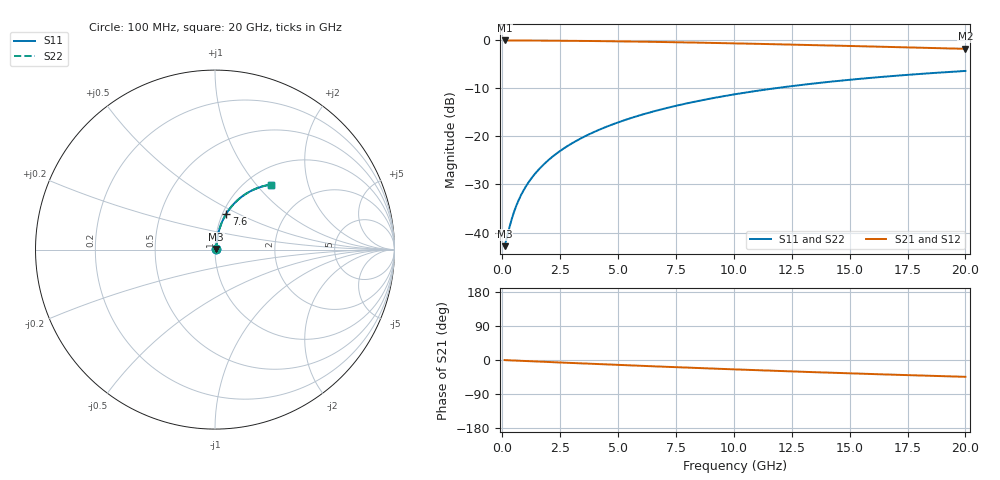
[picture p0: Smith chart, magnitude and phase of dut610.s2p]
! Touchstone file exported from HFSS 2024.1.0
!  File:  C:/UserFiles/LocalFiles/RDL_TSV_Batchsim/temp_RDL_top_610_1779779749.aedt
!  Generated:  03:18:24 PM May 26, 2026
!  Design:  RDL_top
!  Project:  temp_RDL_top_610_1779779749
!  Setup:  Setup1
!  Solution:  Sweep
! Variables:
!  dtsv = 10.80580581um
!  hbump = 3um
!  htsv = 52.27um
!  ldown = 100um
!  lrdl = 582.89um
!  p = 40
!  p1 = 46.5um
!  rhole = 1um
!  t = 450um
!  tdown = 3.915915916um
!  trdl = 2.3um
!  wdown = 15.38538539um
!  wrdl = 13.87um
# GHz S MA R 50.000000
! Terminal data exported
! Port[1] = Box2_T1
! Port[2] = Box2_T2
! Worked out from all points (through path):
!   200 points, 100 MHz to 20 GHz, reference 50 ohm
!   highest |S21| = -0.06 dB at 100 MHz (marker M1); lowest = -1.8 dB at 20 GHz (marker M2)
!   group delay of S21, straight-line fit = 6.17 ps
!   lowest |S11| = -42.8 dB at 100 MHz (marker M3), VSWR 1.01, Z = 50.7 + j0.299 ohm
!   |S11| at or under -10 dB: start of sweep to 11.78 GHz
!   |S22| runs from -42.8 to -6.4 dB; largest |S21 - S12| = 4e-15
!   S11 on the Smith chart (normalised r, x): 100 MHz: 1.01, +0.01; 7.6 GHz: 1.04, +0.44; 20 GHz: 1.28, +1.20
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0.1  0.007214 24.1  0.9934 -0.3  0.9934 -0.3  0.007214 24.1
! Gamma 0 0 0 0
! Port Impedance 50 0 50 0
0.4  0.01361 59.1  0.993 -1.1  0.993 -1.1  0.01361 59.1
0.5  0.01621 63.6  0.9928 -1.4  0.9928 -1.4  0.01621 63.6
0.6  0.01887 66.8  0.9926 -1.6  0.9926 -1.6  0.01887 66.8
0.7  0.02155 69.2  0.9924 -1.9  0.9924 -1.9  0.02155 69.2
0.9  0.02694 72.3  0.9919 -2.4  0.9919 -2.4  0.02694 72.3
1.2  0.03507 75.1  0.9912 -3.2  0.9912 -3.2  0.03507 75.1
1.4  0.0405 76.3  0.9906 -3.7  0.9906 -3.7  0.0405 76.3
1.7  0.04867 77.4  0.9898 -4.5  0.9898 -4.5  0.04867 77.4
2.2  0.06236 78.4  0.9881 -5.8  0.9881 -5.8  0.06236 78.4
2.8  0.07888 78.7  0.9856 -7.3  0.9856 -7.3  0.07888 78.7
3.5  0.09822 78.5  0.9822 -9.1  0.9822 -9.1  0.09822 78.5
4.2  0.1176 77.9  0.9782 -10.9  0.9782 -10.9  0.1176 77.8
5  0.1397 76.9  0.9728 -12.9  0.9728 -12.9  0.1397 76.8
5.9  0.1644 75.5  0.9661 -15.1  0.9661 -15.1  0.1644 75.5
6.8  0.189 73.9  0.9585 -17.3  0.9585 -17.3  0.1889 73.9
7.6  0.2105 72.5  0.9513 -19.2  0.9513 -19.2  0.2104 72.5
10.1  0.2753 67.7  0.9262 -24.9  0.9262 -24.9  0.2752 67.7
11.7  0.3143 64.5  0.9087 -28.4  0.9087 -28.4  0.3142 64.5
13.4  0.3533 61.2  0.8893 -32.0  0.8893 -32.0  0.3531 61.2
16.7  0.4211 55.0  0.8509 -38.4  0.8509 -38.4  0.421 55.0
20  0.4788 49.2  0.8129 -44.4  0.8129 -44.4  0.4786 49.2
